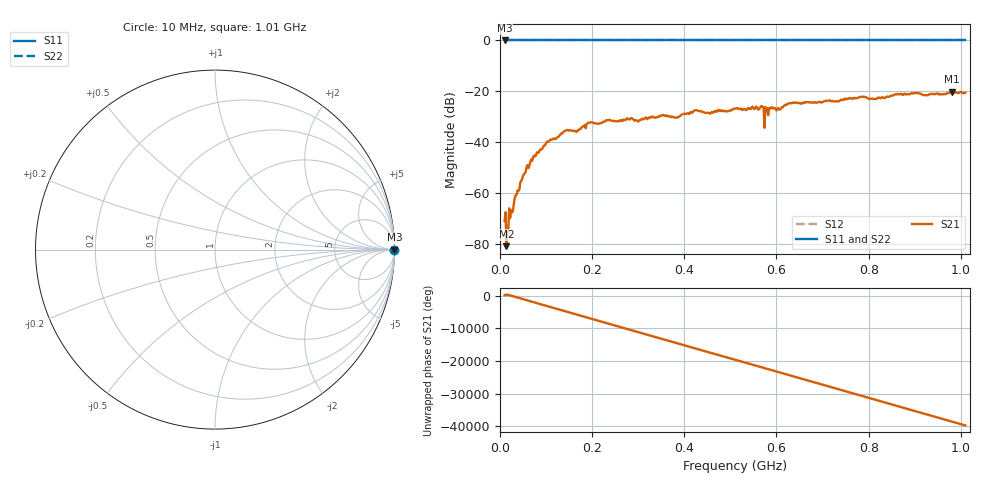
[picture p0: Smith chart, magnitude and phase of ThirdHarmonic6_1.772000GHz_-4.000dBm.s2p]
! 8/16/2025 9:24:16 PM
! C:\ANRITSUVNA\TEMP\TEMP.S2P
! CHANNEL.1
! TR.MEASUREMENT
! RAW.DATA
! RF.CORRECTION.OFF
! AVERAGING.OFF
! IF.BANDWIDTH: 5KHZ
! SWEEPTYPE:  FREQ.SWEEP(Linear)
! Reference Plane Port Info
! PORT:  PORT1  PORT2
! DISTANCE:  0  m  0  m
! TIME:  0  s  0  s
! PHASE.OFFSET:  0  deg.  0  deg.
! LOSS:  0  dB  0  dB
! REF.LOSS:  0  dB  0  dB
! REF.FREQ:  0  Hz  0  Hz
! Power Info
! POWER:  -20  dBm  -20  dBm
! EFF.POWER:  -20  dBm  -20  dBm
! SOURCE.ATTEN:  0  dB  0  dB
! TEST.ATTEN:  0  dB  0  dB
# GHZ S RI R 50.0
! FREQ.GHZ  S11RE  S11IM  S21RE  S21IM  S12RE  S12IM  S22RE  S22IM
!; PortSelection: Port_12
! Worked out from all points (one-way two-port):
!   501 points, 10 MHz to 1.01 GHz, reference 50 ohm
!   highest |S21| = -20.20 dB at 980 MHz (marker M1); lowest = -80.9 dB at 14 MHz (marker M2)
!   lowest |S11| = 0.0 dB at 10 MHz (marker M3)
!   |S11| at or under -10 dB: nowhere
!   |S22| runs from 0.0 to 0.0 dB; largest |S21 - S12| = 1.1
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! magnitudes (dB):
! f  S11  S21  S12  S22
! 10 MHz  0.0  -71.0  0.0  0.0
! 14 MHz  0.0  -80.9  0.0  0.0
! 18 MHz  0.0  -74.4  0.0  0.0
! 24 MHz  0.0  -66.7  0.0  0.0
! 48 MHz  0.0  -54.4  0.0  0.0
! 70 MHz  0.0  -47.3  0.0  0.0
! 106 MHz  0.0  -39.7  0.0  0.0
! 142 MHz  0.0  -35.5  0.0  0.0
! 178 MHz  0.0  -34.0  0.0  0.0
! 196 MHz  0.0  -32.2  0.0  0.0
! 344 MHz  0.0  -30.1  0.0  0.0
! 382 MHz  0.0  -30.3  0.0  0.0
! 510 MHz  0.0  -26.8  0.0  0.0
! 568 MHz  0.0  -25.8  0.0  0.0
! 578 MHz  0.0  -26.5  0.0  0.0
! 580 MHz  0.0  -26.7  0.0  0.0
! 604 MHz  0.0  -26.6  0.0  0.0
! 630 MHz  0.0  -24.7  0.0  0.0
! 678 MHz  0.0  -24.5  0.0  0.0
! 844 MHz  0.0  -22.2  0.0  0.0
! 980 MHz  0.0  -20.2  0.0  0.0
! 1.01 GHz  0.0  -20.5  0.0  0.0
